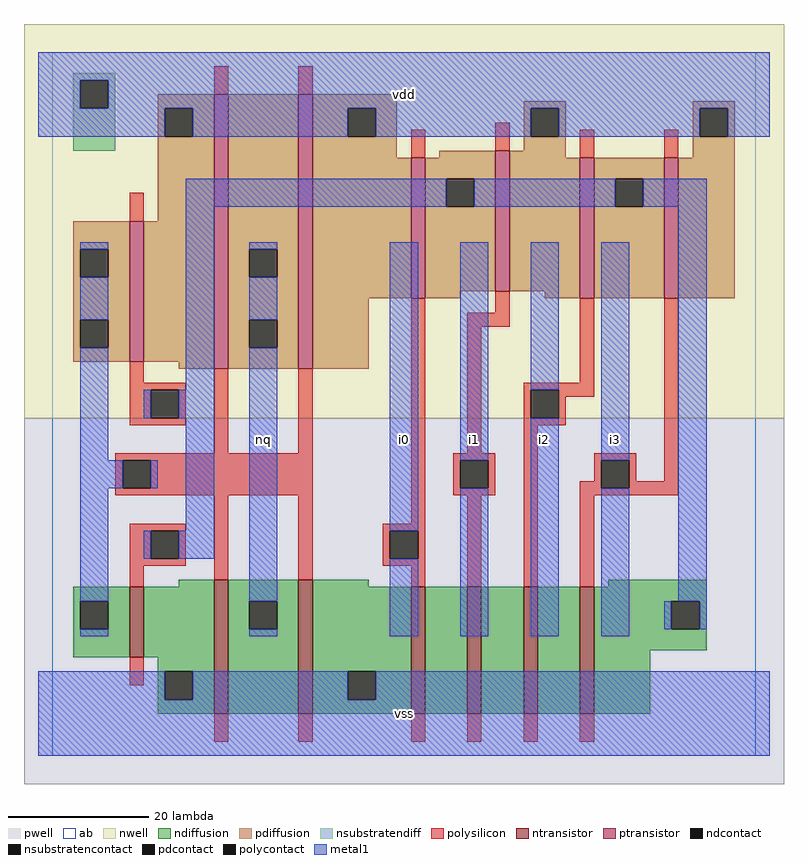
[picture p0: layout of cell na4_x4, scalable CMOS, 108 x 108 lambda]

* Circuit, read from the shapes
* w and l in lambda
.subckt na4_x4 i0 i1 i2 i3 nq vdd vss
M1 vss n1 n2 VSUBS nfet w=10 l=2
M2 nq n2 vss VSUBS nfet w=19 l=2 m=2
M3 n3 i0 vss VSUBS nfet w=18 l=2
M4 n4 i1 n3 VSUBS nfet w=18 l=2
M5 n5 i2 n4 VSUBS nfet w=18 l=2
M6 n1 i3 n5 VSUBS nfet w=18 l=2
M7 vdd n1 n2 vdd pfet w=20 l=2
M8 nq n2 vdd vdd pfet w=39 l=2 m=2
M9 n1 i0 vdd vdd pfet w=20 l=2
M10 vdd i1 n1 vdd pfet w=20 l=2
M11 n1 i2 vdd vdd pfet w=20 l=2
M12 vdd i3 n1 vdd pfet w=20 l=2
.ends

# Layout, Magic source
magic
tech scmos
<< ab >>
rect 0 0 100 100
<< pwell >>
rect -4 -4 104 48
<< nwell >>
rect -4 48 104 104
<< polysilicon >>
rect 23 94 25 98
rect 35 94 37 98
rect 11 76 13 80
rect 11 53 13 56
rect 51 85 53 89
rect 63 86 65 90
rect 75 85 77 89
rect 87 85 89 89
rect 11 52 19 53
rect 11 48 14 52
rect 18 48 19 52
rect 11 47 19 48
rect 23 43 25 55
rect 35 43 37 55
rect 9 42 37 43
rect 9 38 10 42
rect 14 38 37 42
rect 9 37 37 38
rect 11 32 19 33
rect 11 28 14 32
rect 18 28 19 32
rect 11 27 19 28
rect 11 24 13 27
rect 23 25 25 37
rect 35 25 37 37
rect 51 33 53 65
rect 63 63 65 66
rect 59 61 65 63
rect 59 43 61 61
rect 75 53 77 65
rect 67 52 77 53
rect 67 48 68 52
rect 72 51 77 52
rect 72 48 73 51
rect 67 47 73 48
rect 57 42 63 43
rect 57 38 58 42
rect 62 38 63 42
rect 57 37 63 38
rect 47 32 53 33
rect 47 28 48 32
rect 52 28 53 32
rect 47 27 53 28
rect 11 10 13 14
rect 51 24 53 27
rect 59 24 61 37
rect 67 24 69 47
rect 77 42 83 43
rect 77 39 78 42
rect 75 38 78 39
rect 82 39 83 42
rect 87 39 89 65
rect 82 38 89 39
rect 75 37 89 38
rect 75 24 77 37
rect 23 2 25 6
rect 35 2 37 6
rect 51 2 53 6
rect 59 2 61 6
rect 67 2 69 6
rect 75 2 77 6
<< ndiffusion >>
rect 18 24 23 25
rect 3 22 11 24
rect 3 18 4 22
rect 8 18 11 22
rect 3 14 11 18
rect 13 14 23 24
rect 15 12 23 14
rect 15 8 16 12
rect 20 8 23 12
rect 15 6 23 8
rect 25 22 35 25
rect 25 18 28 22
rect 32 18 35 22
rect 25 6 35 18
rect 37 24 45 25
rect 79 24 93 25
rect 37 12 51 24
rect 37 8 42 12
rect 46 8 51 12
rect 37 6 51 8
rect 53 6 59 24
rect 61 6 67 24
rect 69 6 75 24
rect 77 22 93 24
rect 77 18 88 22
rect 92 18 93 22
rect 77 15 93 18
rect 77 6 85 15
<< pdiffusion >>
rect 15 92 23 94
rect 15 88 16 92
rect 20 88 23 92
rect 15 76 23 88
rect 3 72 11 76
rect 3 68 4 72
rect 8 68 11 72
rect 3 62 11 68
rect 3 58 4 62
rect 8 58 11 62
rect 3 56 11 58
rect 13 56 23 76
rect 18 55 23 56
rect 25 72 35 94
rect 25 68 28 72
rect 32 68 35 72
rect 25 62 35 68
rect 25 58 28 62
rect 32 58 35 62
rect 25 55 35 58
rect 37 92 49 94
rect 37 88 42 92
rect 46 88 49 92
rect 67 92 73 93
rect 37 85 49 88
rect 67 88 68 92
rect 72 88 73 92
rect 91 92 97 93
rect 67 86 73 88
rect 55 85 63 86
rect 37 65 51 85
rect 53 82 63 85
rect 53 78 56 82
rect 60 78 63 82
rect 53 66 63 78
rect 65 85 73 86
rect 91 88 92 92
rect 96 88 97 92
rect 91 85 97 88
rect 65 66 75 85
rect 53 65 58 66
rect 37 55 45 65
rect 70 65 75 66
rect 77 82 87 85
rect 77 78 80 82
rect 84 78 87 82
rect 77 65 87 78
rect 89 65 97 85
<< metal1 >>
rect -2 96 102 100
rect -2 92 4 96
rect 8 92 102 96
rect -2 88 16 92
rect 20 88 42 92
rect 46 88 68 92
rect 72 88 92 92
rect 96 88 102 92
rect 19 78 56 82
rect 60 78 80 82
rect 84 78 93 82
rect 4 72 8 73
rect 4 62 8 68
rect 4 42 8 58
rect 19 52 23 78
rect 13 48 14 52
rect 18 48 23 52
rect 4 38 10 42
rect 14 38 15 42
rect 4 22 8 38
rect 19 32 23 48
rect 13 28 14 32
rect 18 28 23 32
rect 28 72 32 73
rect 28 62 32 68
rect 4 17 8 18
rect 28 22 32 58
rect 28 17 32 18
rect 48 32 52 73
rect 48 17 52 28
rect 58 42 62 73
rect 58 17 62 38
rect 68 52 72 73
rect 68 17 72 48
rect 78 42 82 73
rect 78 17 82 38
rect 89 22 93 78
rect 87 18 88 22
rect 92 18 93 22
rect -2 8 16 12
rect 20 8 42 12
rect 46 8 102 12
rect -2 0 102 8
<< ntransistor >>
rect 11 14 13 24
rect 23 6 25 25
rect 35 6 37 25
rect 51 6 53 24
rect 59 6 61 24
rect 67 6 69 24
rect 75 6 77 24
<< ptransistor >>
rect 11 56 13 76
rect 23 55 25 94
rect 35 55 37 94
rect 51 65 53 85
rect 63 66 65 86
rect 75 65 77 85
rect 87 65 89 85
<< polycontact >>
rect 14 48 18 52
rect 10 38 14 42
rect 14 28 18 32
rect 68 48 72 52
rect 58 38 62 42
rect 48 28 52 32
rect 78 38 82 42
<< ndcontact >>
rect 4 18 8 22
rect 16 8 20 12
rect 28 18 32 22
rect 42 8 46 12
rect 88 18 92 22
<< pdcontact >>
rect 16 88 20 92
rect 4 68 8 72
rect 4 58 8 62
rect 28 68 32 72
rect 28 58 32 62
rect 42 88 46 92
rect 68 88 72 92
rect 56 78 60 82
rect 92 88 96 92
rect 80 78 84 82
<< nsubstratencontact >>
rect 4 92 8 96
<< nsubstratendiff >>
rect 3 96 9 97
rect 3 92 4 96
rect 8 92 9 96
rect 3 86 9 92
<< labels >>
rlabel metal1 30 45 30 45 6 nq
rlabel metal1 50 6 50 6 6 vss
rlabel metal1 50 45 50 45 6 i0
rlabel metal1 70 45 70 45 6 i2
rlabel metal1 60 45 60 45 6 i1
rlabel metal1 50 94 50 94 6 vdd
rlabel metal1 80 45 80 45 6 i3
<< end >>
